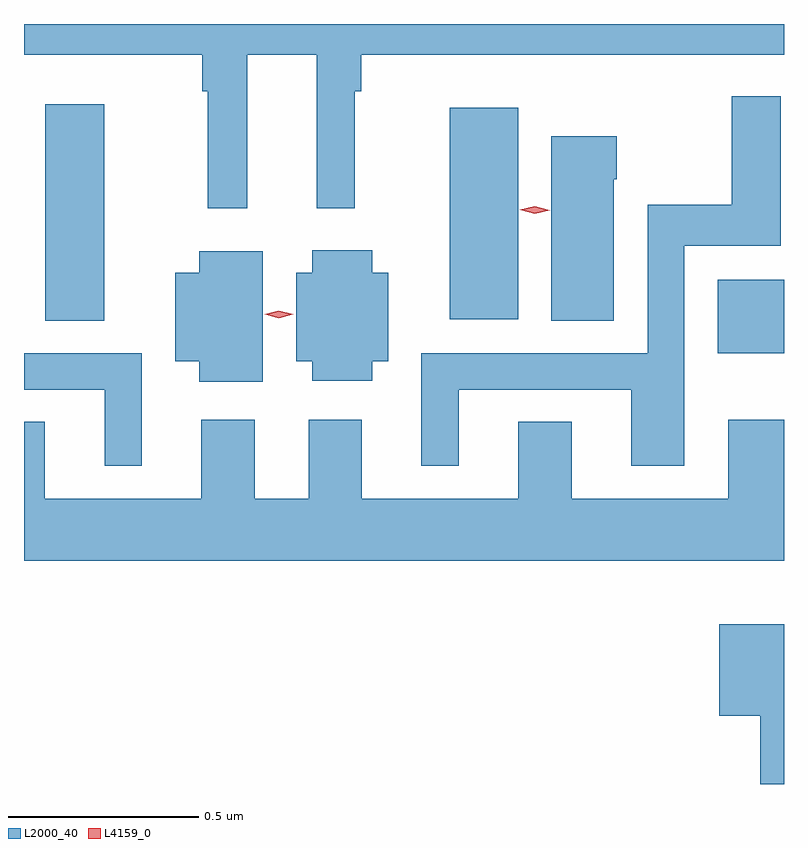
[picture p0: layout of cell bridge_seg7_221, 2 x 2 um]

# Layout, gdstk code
import gdstk
lib = gdstk.Library(unit=1e-6, precision=1e-09)
def R(c, l, rs):  # rectangles x0, y0, x1, y1
    for r in rs: c.add(gdstk.rectangle(r[:2], r[2:], *l))
def P(c, l, *ps):  # polygons
    for p in ps: c.add(gdstk.Polygon(p, *l))
L2000_40 = (2000, 40)
L4159_0 = (4159, 0)

bridge_seg7_221 = lib.new_cell('bridge_seg7_221')
R(bridge_seg7_221, L2000_40, [(277.466,1017.146,277.64,1017.34), (275.696,1017.232,275.851,1017.802), (276.761,1017.236,276.94,1017.793)])
P(bridge_seg7_221, L2000_40, [(276.227,1017.932),(276.41,1017.932),(276.41,1017.528),(276.51,1017.528),(276.51,1017.836),(276.527,1017.836),(276.527,1017.932),(277.64,1017.932),(277.64,1018.013),(275.64,1018.013),(275.64,1017.932),(276.109,1017.932),(276.109,1017.836),(276.124,1017.836),(276.124,1017.528),(276.227,1017.528)],
  [(276.784,1017.051),(277.238,1017.051),(277.238,1016.85),(277.377,1016.85),(277.377,1017.429),(277.631,1017.429),(277.631,1017.823),(277.503,1017.823),(277.503,1017.538),(277.281,1017.538),(277.281,1017.147),(276.686,1017.147),(276.686,1016.85),(276.784,1016.85)],
  [(277.192,1017.605),(277.2,1017.605),(277.2,1017.718),(277.028,1017.718),(277.028,1017.232),(277.192,1017.232)],
  [(276.556,1017.125),(276.598,1017.125),(276.598,1017.358),(276.556,1017.358),(276.556,1017.418),(276.398,1017.418),(276.398,1017.358),(276.356,1017.358),(276.356,1017.125),(276.398,1017.125),(276.398,1017.074),(276.556,1017.074)],
  [(276.268,1017.415),(276.101,1017.415),(276.101,1017.358),(276.038,1017.358),(276.038,1017.125),(276.101,1017.125),(276.101,1017.071),(276.268,1017.071)],
  [(275.95,1017.147),(275.64,1017.147),(275.64,1017.051),(275.852,1017.051),(275.852,1016.85),(275.95,1016.85)],
  [(277.64,1016.971),(277.493,1016.971),(277.493,1016.764),(277.081,1016.764),(277.081,1016.966),(276.941,1016.966),(276.941,1016.764),(276.529,1016.764),(276.529,1016.971),(276.389,1016.971),(276.389,1016.764),(276.247,1016.764),(276.247,1016.971),(276.107,1016.971),(276.107,1016.764),(275.695,1016.764),(275.695,1016.966),(275.64,1016.966),(275.64,1016.6),(277.64,1016.6)],
  [(277.64,1016.434),(277.469,1016.434),(277.469,1016.192),(277.577,1016.192),(277.577,1016.013),(277.64,1016.013)])
P(bridge_seg7_221, L4159_0, [(276.311,1017.239),(276.274,1017.249),(276.274,1017.249),(276.274,1017.249),(276.311,1017.259),(276.349,1017.249),(276.349,1017.249),(276.349,1017.249)],
  [(276.984,1017.514),(276.944,1017.524),(276.944,1017.524),(276.944,1017.524),(276.984,1017.534),(277.024,1017.523),(277.024,1017.523),(277.024,1017.523)])

lib.write_gds('bridge_seg7_221.gds')
